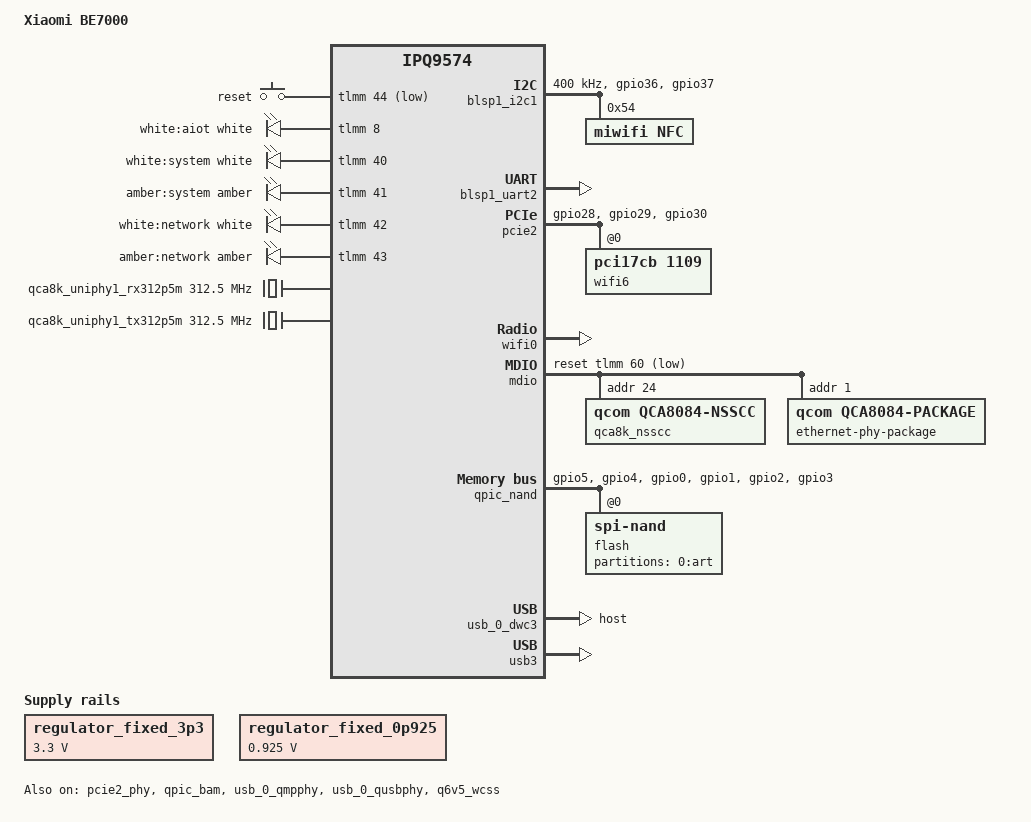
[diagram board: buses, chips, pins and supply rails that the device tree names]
// SPDX-License-Identifier: (GPL-2.0+ OR BSD-3-Clause)

/dts-v1/;


#include <dt-bindings/gpio/gpio.h>
#include <dt-bindings/input/input.h>
#include <dt-bindings/leds/common.h>
#include "ipq9574.dtsi"

#include <dt-bindings/clock/qcom,qca8k-nsscc.h>
#include <dt-bindings/net/qcom,qca808x.h>
#include <dt-bindings/reset/qcom,qca8k-nsscc.h>

/ {
	model = "Xiaomi BE7000";
	compatible = "xiaomi,be7000", "qcom,ipq9574";

	aliases {
		label-mac-device = &ppe_port1;

		led-boot = &led_system_white;
		led-failsafe = &led_system_amber;
		led-running = &led_system_white;
		led-upgrade = &led_system_amber;

		serial0 = &blsp1_uart2;
	};

	chosen {
		stdout-path = "serial0:115200n8";
		/*
		 * The stock bootloader forces:
		 * ubi.mtd=rootfs_1 root=mtd:ubi_rootfs rootfstype=squashfs
		 * Create a UBI block device for the stock root volume name and
		 * make the later root= override win.
		 */
		bootargs-append = " ubi.block=0,ubi_rootfs root=/dev/ubiblock0_1";
	};

	regulator_fixed_3p3: s3300 {
		compatible = "regulator-fixed";
		regulator-min-microvolt = <3300000>;
		regulator-max-microvolt = <3300000>;
		regulator-boot-on;
		regulator-always-on;
		regulator-name = "fixed_3p3";
	};

	regulator_fixed_0p925: s0925 {
		compatible = "regulator-fixed";
		regulator-min-microvolt = <925000>;
		regulator-max-microvolt = <925000>;
		regulator-boot-on;
		regulator-always-on;
		regulator-name = "fixed_0p925";
	};

	gpio-keys {
		compatible = "gpio-keys";
		pinctrl-0 = <&gpio_keys_default>;
		pinctrl-names = "default";

		reset {
			label = "reset";
			linux,code = <KEY_RESTART>;
			gpios = <&tlmm 44 GPIO_ACTIVE_LOW>;
			linux,input-type = <EV_KEY>;
			debounce-interval = <60>;
		};
	};

	leds {
		compatible = "gpio-leds";
		pinctrl-0 = <&gpio_leds_default>;
		pinctrl-names = "default";

		aiot-white {
			label = "white:aiot";
			color = <LED_COLOR_ID_WHITE>;
			gpios = <&tlmm 8 GPIO_ACTIVE_HIGH>;
			default-state = "off";
		};

		led_system_white: system-white {
			label = "white:system";
			color = <LED_COLOR_ID_WHITE>;
			gpios = <&tlmm 40 GPIO_ACTIVE_HIGH>;
			default-state = "off";
		};

		led_system_amber: system-amber {
			label = "amber:system";
			color = <LED_COLOR_ID_AMBER>;
			gpios = <&tlmm 41 GPIO_ACTIVE_HIGH>;
			default-state = "off";
		};

		network-white {
			label = "white:network";
			color = <LED_COLOR_ID_WHITE>;
			gpios = <&tlmm 42 GPIO_ACTIVE_HIGH>;
			default-state = "off";
		};

		network-amber {
			label = "amber:network";
			color = <LED_COLOR_ID_AMBER>;
			gpios = <&tlmm 43 GPIO_ACTIVE_HIGH>;
			default-state = "off";
		};
	};

	clocks {
		qca8k_uniphy1_rx312p5m: qca8k-uniphy1-rx312p5m {
			compatible = "fixed-clock";
			clock-frequency = <312500000>;
			#clock-cells = <0>;
		};

		qca8k_uniphy1_tx312p5m: qca8k-uniphy1-tx312p5m {
			compatible = "fixed-clock";
			clock-frequency = <312500000>;
			#clock-cells = <0>;
		};
	};

	reserved-memory {
		q6_region: wcnss@4ab00000 {
			no-map;
			reg = <0x0 0x4ab00000 0x0 0x2b00000>;
		};

		m3_dump: m3-dump@4d600000 {
			no-map;
			reg = <0x0 0x4d600000 0x0 0x100000>;
		};

		q6_etr_dump: q6-etr-dump@4d700000 {
			no-map;
			reg = <0x0 0x4d700000 0x0 0x100000>;
		};

		q6_caldb_region: q6-caldb@4d800000 {
			no-map;
			reg = <0x0 0x4d800000 0x0 0x500000>;
		};

		qcn9224_pcie2_region: qcn9224-pcie2@54100000 {
			no-map;
			reg = <0x0 0x54100000 0x0 0x3200000>;
		};
	};
};

/ {
	wcss_smp2p: smp2p-wcss {
		compatible = "qcom,smp2p";
		qcom,smem = <435>, <428>;
		interrupt-parent = <&intc>;
		interrupts = <GIC_SPI 322 IRQ_TYPE_EDGE_RISING>;
		mboxes = <&apcs_glb 9>;
		qcom,local-pid = <0>;
		qcom,remote-pid = <1>;

		wcss_smp2p_out: master-kernel {
			qcom,entry-name = "master-kernel";
			qcom,smp2p-feature-ssr-ack;
			#qcom,smem-state-cells = <1>;
		};

		wcss_smp2p_in: slave-kernel {
			qcom,entry-name = "slave-kernel";
			interrupt-controller;
			#interrupt-cells = <2>;
		};
	};
};

&blsp1_i2c1 {
	clock-frequency = <400000>;
	pinctrl-0 = <&i2c1_pins>;
	pinctrl-names = "default";
	status = "okay";

	nfc: nfc@54 {
		compatible = "miwifi,nfc";
		reg = <0x54>;
	};
};

&blsp1_uart2 {
	pinctrl-0 = <&uart2_pins>;
	pinctrl-names = "default";
	status = "okay";
};

&qcom_ppe {
	ethernet-ports {
		#address-cells = <1>;
		#size-cells = <0>;

		ppe_port1: port@1 {
			reg = <1>;
			phy-mode = "10g-qxgmii";
			label = "wan";
			phy-handle = <&phy0>;
			pcs-handle = <&pcs0_ch0>;
			nvmem-cells = <&macaddr_art_0 0>;
			nvmem-cell-names = "mac-address";
			clocks = <&nsscc NSS_CC_PORT1_MAC_CLK>,
				 <&nsscc NSS_CC_PORT1_RX_CLK>,
				 <&nsscc NSS_CC_PORT1_TX_CLK>;
			clock-names = "mac",
				      "rx",
				      "tx";
			resets = <&nsscc PORT1_MAC_ARES>,
				 <&nsscc PORT1_RX_ARES>,
				 <&nsscc PORT1_TX_ARES>;
			reset-names = "mac",
				      "rx",
				      "tx";
		};

		ppe_port2: port@2 {
			reg = <2>;
			phy-mode = "10g-qxgmii";
			label = "lan1";
			phy-handle = <&phy1>;
			pcs-handle = <&pcs0_ch1>;
			nvmem-cells = <&macaddr_art_0 1>;
			nvmem-cell-names = "mac-address";
			clocks = <&nsscc NSS_CC_PORT2_MAC_CLK>,
				 <&nsscc NSS_CC_PORT2_RX_CLK>,
				 <&nsscc NSS_CC_PORT2_TX_CLK>;
			clock-names = "mac",
				      "rx",
				      "tx";
			resets = <&nsscc PORT2_MAC_ARES>,
				 <&nsscc PORT2_RX_ARES>,
				 <&nsscc PORT2_TX_ARES>;
			reset-names = "mac",
				      "rx",
				      "tx";
		};

		ppe_port3: port@3 {
			reg = <3>;
			phy-mode = "10g-qxgmii";
			label = "lan2";
			phy-handle = <&phy2>;
			pcs-handle = <&pcs0_ch2>;
			nvmem-cells = <&macaddr_art_0 2>;
			nvmem-cell-names = "mac-address";
			clocks = <&nsscc NSS_CC_PORT3_MAC_CLK>,
				 <&nsscc NSS_CC_PORT3_RX_CLK>,
				 <&nsscc NSS_CC_PORT3_TX_CLK>;
			clock-names = "mac",
				      "rx",
				      "tx";
			resets = <&nsscc PORT3_MAC_ARES>,
				 <&nsscc PORT3_RX_ARES>,
				 <&nsscc PORT3_TX_ARES>;
			reset-names = "mac",
				      "rx",
				      "tx";
		};

		ppe_port4: port@4 {
			reg = <4>;
			phy-mode = "10g-qxgmii";
			label = "lan3";
			phy-handle = <&phy3>;
			pcs-handle = <&pcs0_ch3>;
			nvmem-cells = <&macaddr_art_0 3>;
			nvmem-cell-names = "mac-address";
			clocks = <&nsscc NSS_CC_PORT4_MAC_CLK>,
				 <&nsscc NSS_CC_PORT4_RX_CLK>,
				 <&nsscc NSS_CC_PORT4_TX_CLK>;
			clock-names = "mac",
				      "rx",
				      "tx";
			resets = <&nsscc PORT4_MAC_ARES>,
				 <&nsscc PORT4_RX_ARES>,
				 <&nsscc PORT4_TX_ARES>;
			reset-names = "mac",
				      "rx",
				      "tx";
		};
	};
};

&rpm_requests {
	regulators {
		compatible = "qcom,rpm-mp5496-regulators";

		ipq9574_s1: s1 {
			/*
			 * During kernel bootup, the SoC runs at 800MHz with 875mV set by the bootloaders.
			 * During regulator registration, kernel not knowing the initial voltage,
			 * considers it as zero and brings up the regulators with minimum supported voltage.
			 * Update the regulator-min-microvolt with SVS voltage of 725mV so that
			 * the regulators are brought up with 725mV which is sufficient for all the
			 * corner parts to operate at 800MHz
			 */
			regulator-min-microvolt = <725000>;
			regulator-max-microvolt = <1075000>;
		};

		mp5496_l2: l2 {
			regulator-min-microvolt = <1800000>;
			regulator-max-microvolt = <1800000>;
			regulator-always-on;
			regulator-boot-on;
		};
	};
};

	&sleep_clk {
		clock-frequency = <32000>;
	};

&pcie2_phy {
	status = "okay";
};

&pcie2 {
	pinctrl-0 = <&pcie2_default>;
	pinctrl-names = "default";

	perst-gpios = <&tlmm 29 GPIO_ACTIVE_LOW>;
	wake-gpios = <&tlmm 30 GPIO_ACTIVE_LOW>;
	status = "okay";

	pcie@0,0 {
		#address-cells = <3>;
		#size-cells = <2>;
		reg = <0 0 0 0 0>;

		wifi6: pcie@0 {
			compatible = "pci17cb,1109";
			reg = <0 0 0 0 0>;
			qcom,board_id = <0x02>;
			qcom,num-radios = <1>;
			nvmem-cells = <&macaddr_art_0 5>;
			nvmem-cell-names = "mac-address";
			memory-region = <&qcn9224_pcie2_region>;
		};
	};
};

&soc {
	q6v5_wcss: remoteproc@cd00000 {
		compatible = "qcom,ipq9574-wcss-pil";
		reg = <0x0cd00000 0x4040>,
		      <0x004ab000 0x20>,
		      <0x0cb50000 0x8>;
		reg-names = "qdsp6", "rmb", "wcmn";
		interrupts-extended = <&intc GIC_SPI 325 IRQ_TYPE_EDGE_RISING>,
				      <&wcss_smp2p_in 0 IRQ_TYPE_NONE>,
				      <&wcss_smp2p_in 1 IRQ_TYPE_NONE>,
				      <&wcss_smp2p_in 2 IRQ_TYPE_NONE>,
				      <&wcss_smp2p_in 3 IRQ_TYPE_NONE>;
		interrupt-names = "wdog",
				  "fatal",
				  "ready",
				  "handover",
				  "stop-ack";
		resets = <&gcc GCC_WCSSAON_RESET>,
			 <&gcc GCC_WCSS_BCR>,
			 <&gcc GCC_WCSS_Q6_BCR>,
			 <&gcc GCC_WCSS_Q6_TBU_BCR>;
		reset-names = "wcss_aon_reset",
			      "wcss_reset",
			      "wcss_q6_reset",
			      "wcss_q6_bcr_reset";
		clocks = <&gcc GCC_ANOC_WCSS_AXI_M_CLK>,
			 <&gcc GCC_Q6_AHB_CLK>,
			 <&gcc GCC_Q6_AHB_S_CLK>,
			 <&gcc GCC_Q6_AXIM_CLK>,
			 <&gcc GCC_Q6SS_BOOT_CLK>,
			 <&gcc GCC_MEM_NOC_Q6_AXI_CLK>,
			 <&gcc GCC_SYS_NOC_WCSS_AHB_CLK>,
			 <&gcc GCC_WCSS_ACMT_CLK>,
			 <&gcc GCC_WCSS_ECAHB_CLK>,
			 <&gcc GCC_WCSS_Q6_TBU_CLK>,
			 <&gcc GCC_Q6_AXIM2_CLK>,
			 <&gcc GCC_WCSS_AHB_S_CLK>,
			 <&gcc GCC_WCSS_AXI_M_CLK>;
		clock-names = "anoc_wcss_axi_m",
			      "q6_ahb",
			      "q6_ahb_s",
			      "q6_axim",
			      "q6ss_boot",
			      "mem_noc_q6_axi",
			      "sys_noc_wcss_ahb",
			      "wcss_acmt",
			      "wcss_ecahb",
			      "wcss_q6_tbu",
			      "q6_axim2",
			      "wcss_ahb_s",
			      "wcss_axi_m";
		qcom,halt-regs = <&tcsr 0x18000 0x1b000 0xe000>;
		qcom,smem-states = <&wcss_smp2p_out 0>,
				   <&wcss_smp2p_out 1>;
		qcom,smem-state-names = "shutdown",
					  "stop";
		memory-region = <&q6_region>, <&m3_dump>,
				<&q6_etr_dump>, <&q6_caldb_region>;
		status = "okay";

		glink-edge {
			interrupts = <GIC_SPI 321 IRQ_TYPE_EDGE_RISING>;
			qcom,remote-pid = <1>;
			mboxes = <&apcs_glb 8>;

			qrtr_requests {
				qcom,glink-channels = "IPCRTR";
			};
		};
	};

	wifi0: wifi@c000000 {
		compatible = "qcom,ipq9574-wifi";
		reg = <0x0c000000 0x1000000>;
		qcom,rproc = <&q6v5_wcss>;
		qcom,ath11k-calibration-variant = "Xiaomi-BE7000";
		qcom,ath11k-fw-memory-mode = <0>;
		qcom,bdf-addr = <0x4b700000>;
		qcom,caldb-addr = <0x4d800000>;
		nvmem-cells = <&macaddr_art_0 4>;
		nvmem-cell-names = "mac-address";
		memory-region = <&q6_region>, <&m3_dump>;
		clocks = <&xo_board_clk>;
		clock-names = "xo";
		interrupts = <GIC_SPI 320 IRQ_TYPE_EDGE_RISING>,
			     <GIC_SPI 319 IRQ_TYPE_EDGE_RISING>,
			     <GIC_SPI 318 IRQ_TYPE_EDGE_RISING>,
			     <GIC_SPI 316 IRQ_TYPE_EDGE_RISING>,
			     <GIC_SPI 315 IRQ_TYPE_EDGE_RISING>,
			     <GIC_SPI 314 IRQ_TYPE_EDGE_RISING>,
			     <GIC_SPI 311 IRQ_TYPE_EDGE_RISING>,
			     <GIC_SPI 310 IRQ_TYPE_EDGE_RISING>,
			     <GIC_SPI 411 IRQ_TYPE_EDGE_RISING>,
			     <GIC_SPI 410 IRQ_TYPE_EDGE_RISING>,
			     <GIC_SPI 40 IRQ_TYPE_EDGE_RISING>,
			     <GIC_SPI 39 IRQ_TYPE_EDGE_RISING>,
			     <GIC_SPI 302 IRQ_TYPE_EDGE_RISING>,
			     <GIC_SPI 301 IRQ_TYPE_EDGE_RISING>,
			     <GIC_SPI 37 IRQ_TYPE_EDGE_RISING>,
			     <GIC_SPI 36 IRQ_TYPE_EDGE_RISING>,
			     <GIC_SPI 296 IRQ_TYPE_EDGE_RISING>,
			     <GIC_SPI 295 IRQ_TYPE_EDGE_RISING>,
			     <GIC_SPI 294 IRQ_TYPE_EDGE_RISING>,
			     <GIC_SPI 293 IRQ_TYPE_EDGE_RISING>,
			     <GIC_SPI 292 IRQ_TYPE_EDGE_RISING>,
			     <GIC_SPI 291 IRQ_TYPE_EDGE_RISING>,
			     <GIC_SPI 290 IRQ_TYPE_EDGE_RISING>,
			     <GIC_SPI 289 IRQ_TYPE_EDGE_RISING>,
			     <GIC_SPI 288 IRQ_TYPE_EDGE_RISING>,
			     <GIC_SPI 239 IRQ_TYPE_EDGE_RISING>,
			     <GIC_SPI 236 IRQ_TYPE_EDGE_RISING>,
			     <GIC_SPI 235 IRQ_TYPE_EDGE_RISING>,
			     <GIC_SPI 234 IRQ_TYPE_EDGE_RISING>,
			     <GIC_SPI 233 IRQ_TYPE_EDGE_RISING>,
			     <GIC_SPI 232 IRQ_TYPE_EDGE_RISING>,
			     <GIC_SPI 231 IRQ_TYPE_EDGE_RISING>,
			     <GIC_SPI 230 IRQ_TYPE_EDGE_RISING>,
			     <GIC_SPI 229 IRQ_TYPE_EDGE_RISING>,
			     <GIC_SPI 228 IRQ_TYPE_EDGE_RISING>,
			     <GIC_SPI 224 IRQ_TYPE_EDGE_RISING>,
			     <GIC_SPI 223 IRQ_TYPE_EDGE_RISING>,
			     <GIC_SPI 203 IRQ_TYPE_EDGE_RISING>,
			     <GIC_SPI 183 IRQ_TYPE_EDGE_RISING>,
			     <GIC_SPI 180 IRQ_TYPE_EDGE_RISING>,
			     <GIC_SPI 179 IRQ_TYPE_EDGE_RISING>,
			     <GIC_SPI 178 IRQ_TYPE_EDGE_RISING>,
			     <GIC_SPI 177 IRQ_TYPE_EDGE_RISING>,
			     <GIC_SPI 176 IRQ_TYPE_EDGE_RISING>,
			     <GIC_SPI 163 IRQ_TYPE_EDGE_RISING>,
			     <GIC_SPI 162 IRQ_TYPE_EDGE_RISING>,
			     <GIC_SPI 160 IRQ_TYPE_EDGE_RISING>,
			     <GIC_SPI 414 IRQ_TYPE_EDGE_RISING>,
			     <GIC_SPI 159 IRQ_TYPE_EDGE_RISING>,
			     <GIC_SPI 158 IRQ_TYPE_EDGE_RISING>,
			     <GIC_SPI 157 IRQ_TYPE_EDGE_RISING>,
			     <GIC_SPI 156 IRQ_TYPE_EDGE_RISING>;
		interrupt-names = "misc-pulse1",
				  "misc-latch",
				  "sw-exception",
				  "ce0",
				  "ce1",
				  "ce2",
				  "ce3",
				  "ce4",
				  "ce5",
				  "ce6",
				  "ce7",
				  "ce8",
				  "ce9",
				  "ce10",
				  "ce11",
				  "host2wbm-desc-feed",
				  "host2reo-re-injection",
				  "host2reo-command",
				  "host2rxdma-monitor-ring3",
				  "host2rxdma-monitor-ring2",
				  "host2rxdma-monitor-ring1",
				  "reo2ost-exception",
				  "wbm2host-rx-release",
				  "reo2host-status",
				  "reo2host-destination-ring4",
				  "reo2host-destination-ring3",
				  "reo2host-destination-ring2",
				  "reo2host-destination-ring1",
				  "rxdma2host-monitor-destination-mac3",
				  "rxdma2host-monitor-destination-mac2",
				  "rxdma2host-monitor-destination-mac1",
				  "ppdu-end-interrupts-mac3",
				  "ppdu-end-interrupts-mac2",
				  "ppdu-end-interrupts-mac1",
				  "rxdma2host-monitor-status-ring-mac3",
				  "rxdma2host-monitor-status-ring-mac2",
				  "rxdma2host-monitor-status-ring-mac1",
				  "host2rxdma-host-buf-ring-mac3",
				  "host2rxdma-host-buf-ring-mac2",
				  "host2rxdma-host-buf-ring-mac1",
				  "rxdma2host-destination-ring-mac3",
				  "rxdma2host-destination-ring-mac2",
				  "rxdma2host-destination-ring-mac1",
				  "host2tcl-input-ring4",
				  "host2tcl-input-ring3",
				  "host2tcl-input-ring2",
				  "host2tcl-input-ring1",
				  "wbm2host-tx-completions-ring4",
				  "wbm2host-tx-completions-ring3",
				  "wbm2host-tx-completions-ring2",
				  "wbm2host-tx-completions-ring1",
				  "tcl2host-status-ring";
		status = "okay";
	};
};

&tlmm {
	i2c1_pins: i2c1-state {
		pins = "gpio36", "gpio37";
		function = "blsp1_i2c";
		drive-strength = <8>;
		bias-disable;
	};

	gpio_keys_default: gpio-keys-default-state {
		pins = "gpio44";
		function = "gpio";
		drive-strength = <8>;
		bias-pull-up;
	};

	gpio_leds_default: gpio-leds-default-state {
		pins = "gpio8", "gpio40", "gpio41", "gpio42", "gpio43";
		function = "gpio";
		drive-strength = <8>;
		bias-pull-up;
	};

	qpic_snand_default_state: qpic-snand-default-state {
		clock-pins {
			pins = "gpio5";
			function = "qspi_clk";
			drive-strength = <8>;
			bias-disable;
		};

		cs-pins {
			pins = "gpio4";
			function = "qspi_cs";
			drive-strength = <8>;
			bias-disable;
		};

		data-pins {
			pins = "gpio0", "gpio1", "gpio2", "gpio3";
			function = "qspi_data";
			drive-strength = <8>;
			bias-disable;
		};
	};

	pcie2_default: pcie2-default-state {
		clkreq-n-pins {
			pins = "gpio28";
			function = "pcie2_clk";
			drive-strength = <6>;
			bias-pull-up;
		};

		perst-n-pins {
			pins = "gpio29";
			function = "gpio";
			drive-strength = <8>;
			bias-pull-down;
			output-low;
		};

		wake-n-pins {
			pins = "gpio30";
			function = "pcie2_wake";
			drive-strength = <6>;
			bias-pull-up;
		};
	};

};

&mdio {
	status = "okay";
	clock-frequency = <6250000>;
	reset-gpios = <&tlmm 60 GPIO_ACTIVE_LOW>;

	qca8k_nsscc: clock-controller@18 {
		compatible = "qcom,qca8084-nsscc";
		reg = <0x18>;
		clocks = <&cmn_pll ETH0_50MHZ_CLK>,
			 <0>,
			 <0>,
			 <0>,
			 <0>,
			 <&qca8k_uniphy1_rx312p5m>,
			 <&qca8k_uniphy1_tx312p5m>;
		#clock-cells = <1>;
		#reset-cells = <1>;
	};

	ethernet-phy-package@1 {
		#address-cells = <1>;
		#size-cells = <0>;
		compatible = "qcom,qca8084-package";
		reg = <1>;
		clocks = <&qca8k_nsscc NSS_CC_APB_BRIDGE_CLK>,
			 <&qca8k_nsscc NSS_CC_AHB_CLK>,
			 <&qca8k_nsscc NSS_CC_SEC_CTRL_AHB_CLK>,
			 <&qca8k_nsscc NSS_CC_TLMM_CLK>,
			 <&qca8k_nsscc NSS_CC_TLMM_AHB_CLK>,
			 <&qca8k_nsscc NSS_CC_CNOC_AHB_CLK>,
			 <&qca8k_nsscc NSS_CC_MDIO_AHB_CLK>;
		clock-names = "apb_bridge",
			      "ahb",
			      "sec_ctrl_ahb",
			      "tlmm",
			      "tlmm_ahb",
			      "cnoc_ahb",
			      "mdio_ahb";
		resets = <&qca8k_nsscc NSS_CC_GEPHY_FULL_ARES>;
		qcom,phy-addr-fixup = <1 2 3 4 5 6 7>;
		qcom,package-mode = <QCA808X_PCS1_10G_QXGMII_PCS0_UNUNSED>;

		phy0: ethernet-phy@1 {
			compatible = "ethernet-phy-id004d.d180";
			reg = <1>;
			clocks = <&qca8k_nsscc NSS_CC_GEPHY0_SYS_CLK>;
			resets = <&qca8k_nsscc NSS_CC_GEPHY0_SYS_ARES>;
			qcom,xpcs-channel = <0>;

			leds {
				#address-cells = <1>;
				#size-cells = <0>;

				led@2 {
					reg = <2>;
					color = <LED_COLOR_ID_GREEN>;
					function = LED_FUNCTION_WAN;
					default-state = "off";
				};
			};
		};

		phy1: ethernet-phy@2 {
			compatible = "ethernet-phy-id004d.d180";
			reg = <2>;
			clocks = <&qca8k_nsscc NSS_CC_GEPHY1_SYS_CLK>;
			resets = <&qca8k_nsscc NSS_CC_GEPHY1_SYS_ARES>;
			qcom,xpcs-channel = <1>;

			leds {
				#address-cells = <1>;
				#size-cells = <0>;

				led@0 {
					reg = <0>;
					color = <LED_COLOR_ID_GREEN>;
					function = LED_FUNCTION_LAN;
					function-enumerator = <1>;
					default-state = "off";
				};
			};
		};

		phy2: ethernet-phy@3 {
			compatible = "ethernet-phy-id004d.d180";
			reg = <3>;
			clocks = <&qca8k_nsscc NSS_CC_GEPHY2_SYS_CLK>;
			resets = <&qca8k_nsscc NSS_CC_GEPHY2_SYS_ARES>;
			qcom,xpcs-channel = <2>;

			leds {
				#address-cells = <1>;
				#size-cells = <0>;

				led@0 {
					reg = <0>;
					color = <LED_COLOR_ID_GREEN>;
					function = LED_FUNCTION_LAN;
					function-enumerator = <2>;
					default-state = "off";
				};
			};
		};

		phy3: ethernet-phy@4 {
			compatible = "ethernet-phy-id004d.d180";
			reg = <4>;
			clocks = <&qca8k_nsscc NSS_CC_GEPHY3_SYS_CLK>;
			resets = <&qca8k_nsscc NSS_CC_GEPHY3_SYS_ARES>;
			qcom,xpcs-channel = <3>;

			leds {
				#address-cells = <1>;
				#size-cells = <0>;

				led@0 {
					reg = <0>;
					color = <LED_COLOR_ID_GREEN>;
					function = LED_FUNCTION_LAN;
					function-enumerator = <3>;
					default-state = "off";
				};
			};
		};

		pcs-phy@6 {
			compatible = "qcom,qca8k-pcs-phy";
			reg = <6>;
			clocks = <&qca8k_nsscc NSS_CC_SRDS1_SYS_CLK>,
				 <&qca8k_uniphy1_tx312p5m>,
				 <&qca8k_uniphy1_rx312p5m>;
			clock-names = "pcs", "pcs_rx_root", "pcs_tx_root";
			resets = <&qca8k_nsscc NSS_CC_SRDS1_SYS_ARES>;
		};

		xpcs-phy@7 {
			compatible = "qcom,qca8k-xpcs-phy";
			reg = <7>;
			#address-cells = <1>;
			#size-cells = <0>;
			resets = <&qca8k_nsscc NSS_CC_XPCS_ARES>;

			channel@0 {
				reg = <0>;
				clocks = <&qca8k_nsscc NSS_CC_MAC1_SRDS1_CH0_XGMII_TX_CLK>,
					 <&qca8k_nsscc NSS_CC_MAC1_SRDS1_CH0_XGMII_RX_CLK>,
					 <&qca8k_nsscc NSS_CC_MAC1_SRDS1_CH0_TX_CLK>,
					 <&qca8k_nsscc NSS_CC_MAC1_SRDS1_CH0_RX_CLK>,
					 <&qca8k_nsscc NSS_CC_MAC1_GEPHY0_RX_CLK>,
					 <&qca8k_nsscc NSS_CC_MAC1_GEPHY0_TX_CLK>,
					 <&qca8k_nsscc NSS_CC_MAC1_RX_CLK_SRC>,
					 <&qca8k_nsscc NSS_CC_MAC1_TX_CLK_SRC>;
				clock-names = "xgmii_rx",
					      "xgmii_tx",
					      "xpcs_rx",
					      "xpcs_tx",
					      "port_rx",
					      "port_tx",
					      "rx_src",
					      "tx_src";
				resets = <&qca8k_nsscc NSS_CC_MAC1_SRDS1_CH0_XGMII_TX_ARES>,
					 <&qca8k_nsscc NSS_CC_MAC1_SRDS1_CH0_XGMII_RX_ARES>,
					 <&qca8k_nsscc NSS_CC_MAC1_SRDS1_CH0_TX_ARES>,
					 <&qca8k_nsscc NSS_CC_MAC1_SRDS1_CH0_RX_ARES>,
					 <&qca8k_nsscc NSS_CC_MAC1_GEPHY0_RX_ARES>,
					 <&qca8k_nsscc NSS_CC_MAC1_GEPHY0_TX_ARES>;
				reset-names = "xgmii_rx",
					      "xgmii_tx",
					      "xpcs_rx",
					      "xpcs_tx",
					      "port_rx",
					      "port_tx";
			};

			channel@1 {
				reg = <1>;
				clocks = <&qca8k_nsscc NSS_CC_MAC2_SRDS1_CH1_XGMII_TX_CLK>,
					 <&qca8k_nsscc NSS_CC_MAC2_SRDS1_CH1_XGMII_RX_CLK>,
					 <&qca8k_nsscc NSS_CC_MAC2_SRDS1_CH1_TX_CLK>,
					 <&qca8k_nsscc NSS_CC_MAC2_SRDS1_CH1_RX_CLK>,
					 <&qca8k_nsscc NSS_CC_MAC2_GEPHY1_RX_CLK>,
					 <&qca8k_nsscc NSS_CC_MAC2_GEPHY1_TX_CLK>,
					 <&qca8k_nsscc NSS_CC_MAC2_RX_CLK_SRC>,
					 <&qca8k_nsscc NSS_CC_MAC2_TX_CLK_SRC>;
				clock-names = "xgmii_rx",
					      "xgmii_tx",
					      "xpcs_rx",
					      "xpcs_tx",
					      "port_rx",
					      "port_tx",
					      "rx_src",
					      "tx_src";
				resets = <&qca8k_nsscc NSS_CC_MAC2_SRDS1_CH1_XGMII_TX_ARES>,
					 <&qca8k_nsscc NSS_CC_MAC2_SRDS1_CH1_XGMII_RX_ARES>,
					 <&qca8k_nsscc NSS_CC_MAC2_SRDS1_CH1_TX_ARES>,
					 <&qca8k_nsscc NSS_CC_MAC2_SRDS1_CH1_RX_ARES>,
					 <&qca8k_nsscc NSS_CC_MAC2_GEPHY1_RX_ARES>,
					 <&qca8k_nsscc NSS_CC_MAC2_GEPHY1_TX_ARES>;
				reset-names = "xgmii_rx",
					      "xgmii_tx",
					      "xpcs_rx",
					      "xpcs_tx",
					      "port_rx",
					      "port_tx";
			};

			channel@2 {
				reg = <2>;
				clocks = <&qca8k_nsscc NSS_CC_MAC3_SRDS1_CH2_XGMII_TX_CLK>,
					 <&qca8k_nsscc NSS_CC_MAC3_SRDS1_CH2_XGMII_RX_CLK>,
					 <&qca8k_nsscc NSS_CC_MAC3_SRDS1_CH2_TX_CLK>,
					 <&qca8k_nsscc NSS_CC_MAC3_SRDS1_CH2_RX_CLK>,
					 <&qca8k_nsscc NSS_CC_MAC3_GEPHY2_RX_CLK>,
					 <&qca8k_nsscc NSS_CC_MAC3_GEPHY2_TX_CLK>,
					 <&qca8k_nsscc NSS_CC_MAC3_RX_CLK_SRC>,
					 <&qca8k_nsscc NSS_CC_MAC3_TX_CLK_SRC>;
				clock-names = "xgmii_rx",
					      "xgmii_tx",
					      "xpcs_rx",
					      "xpcs_tx",
					      "port_rx",
					      "port_tx",
					      "rx_src",
					      "tx_src";
				resets = <&qca8k_nsscc NSS_CC_MAC3_SRDS1_CH2_XGMII_TX_ARES>,
					 <&qca8k_nsscc NSS_CC_MAC3_SRDS1_CH2_XGMII_RX_ARES>,
					 <&qca8k_nsscc NSS_CC_MAC3_SRDS1_CH2_TX_ARES>,
					 <&qca8k_nsscc NSS_CC_MAC3_SRDS1_CH2_RX_ARES>,
					 <&qca8k_nsscc NSS_CC_MAC3_GEPHY2_RX_ARES>,
					 <&qca8k_nsscc NSS_CC_MAC3_GEPHY2_TX_ARES>;
				reset-names = "xgmii_rx",
					      "xgmii_tx",
					      "xpcs_rx",
					      "xpcs_tx",
					      "port_rx",
					      "port_tx";
			};

			channel@3 {
				reg = <3>;
				clocks = <&qca8k_nsscc NSS_CC_MAC4_SRDS1_CH3_XGMII_TX_CLK>,
					 <&qca8k_nsscc NSS_CC_MAC4_SRDS1_CH3_XGMII_RX_CLK>,
					 <&qca8k_nsscc NSS_CC_MAC4_SRDS1_CH3_TX_CLK>,
					 <&qca8k_nsscc NSS_CC_MAC4_SRDS1_CH3_RX_CLK>,
					 <&qca8k_nsscc NSS_CC_MAC4_GEPHY3_RX_CLK>,
					 <&qca8k_nsscc NSS_CC_MAC4_GEPHY3_TX_CLK>,
					 <&qca8k_nsscc NSS_CC_MAC4_RX_CLK_SRC>,
					 <&qca8k_nsscc NSS_CC_MAC4_TX_CLK_SRC>;
				clock-names = "xgmii_rx",
					      "xgmii_tx",
					      "xpcs_rx",
					      "xpcs_tx",
					      "port_rx",
					      "port_tx",
					      "rx_src",
					      "tx_src";
				resets = <&qca8k_nsscc NSS_CC_MAC4_SRDS1_CH3_XGMII_TX_ARES>,
					 <&qca8k_nsscc NSS_CC_MAC4_SRDS1_CH3_XGMII_RX_ARES>,
					 <&qca8k_nsscc NSS_CC_MAC4_SRDS1_CH3_TX_ARES>,
					 <&qca8k_nsscc NSS_CC_MAC4_SRDS1_CH3_RX_ARES>,
					 <&qca8k_nsscc NSS_CC_MAC4_GEPHY3_RX_ARES>,
					 <&qca8k_nsscc NSS_CC_MAC4_GEPHY3_TX_ARES>;
				reset-names = "xgmii_rx",
					      "xgmii_tx",
					      "xpcs_rx",
					      "xpcs_tx",
					      "port_rx",
					      "port_tx";
			};
		};
	};
};

&qpic_bam {
	status = "okay";
};

&qpic_nand {
	pinctrl-0 = <&qpic_snand_default_state>;
	pinctrl-names = "default";
	status = "okay";

	flash@0 {
		reg = <0>;
		compatible = "spi-nand";
		#address-cells = <1>;
		#size-cells = <1>;
		nand-ecc-strength = <8>;
		nand-ecc-step-size = <512>;
		nand-bus-width = <0x08>;
		nand-ecc-engine = <&qpic_nand>;
		partitions {
			compatible = "qcom,smem-part";

			partition-0-art {
				label = "0:art";
				read-only;

				nvmem-layout {
					compatible = "fixed-layout";
					#address-cells = <1>;
					#size-cells = <1>;

					macaddr_art_0: macaddr@0 {
						compatible = "mac-base";
						reg = <0x0 0x6>;
						#nvmem-cell-cells = <1>;
					};
				};
			};
		};
	};
};

&usb_0_dwc3 {
	dr_mode = "host";
};

&usb_0_qmpphy {
	vdda-pll-supply = <&mp5496_l2>;
	vdda-phy-supply = <&regulator_fixed_0p925>;

	status = "okay";
};

&usb_0_qusbphy {
	vdd-supply = <&regulator_fixed_0p925>;
	vdda-pll-supply = <&mp5496_l2>;
	vdda-phy-dpdm-supply = <&regulator_fixed_3p3>;

	status = "okay";
};

&usb3 {
	status = "okay";
};

/*
 * The bootstrap pins for the board select the XO clock frequency
 * (48 MHZ or 96 MHZ used for different RDP type board). This setting
 * automatically enables the right dividers, to ensure the reference
 * clock output from WiFi to the CMN PLL is 48 MHZ.
 */
&ref_48mhz_clk {
	clock-div = <1>;
	clock-mult = <1>;
};

/*
 * The frequency of xo_board_clk is fixed to 24 MHZ, which is routed
 * from WiFi output clock 48 MHZ divided by 2.
 */
&xo_board_clk {
	clock-div = <2>;
	clock-mult = <1>;
};

&xo_clk {
	clock-frequency = <48000000>;
};

&pcs1 {
	status = "disabled";
};

&pcs2 {
	status = "disabled";
};
